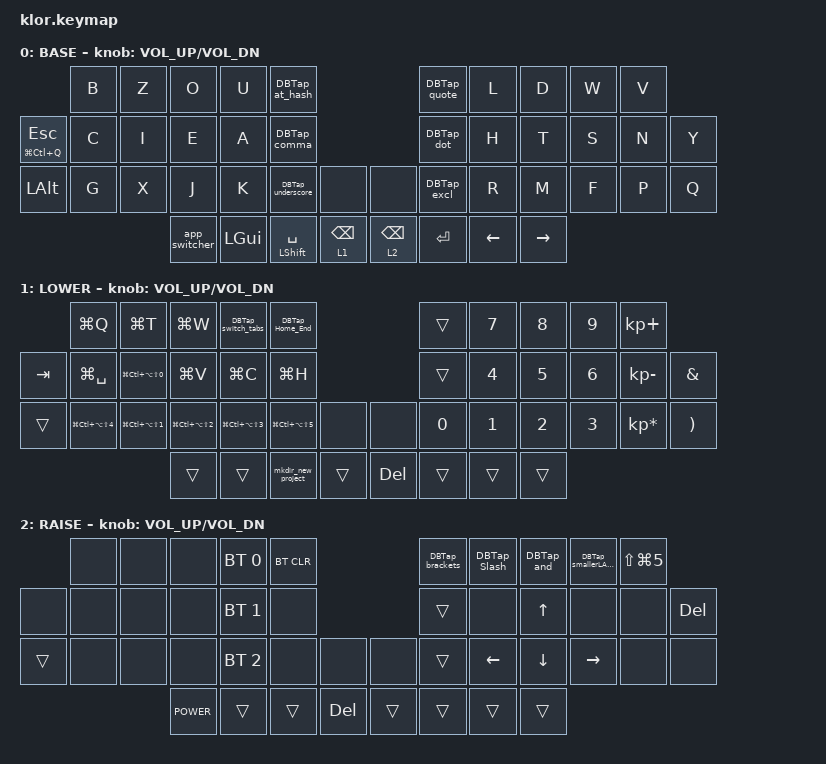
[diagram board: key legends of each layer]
//                               █         █    █            ▄▄▄▀▀▀▀▀▀▄▄▄        █▀▀▀▀▀▀▀▀▀▀█
//                               █        █     █          ▄▀            ▀▄      █          █
//                               █       █      █        ▄▀                ▀▄    █          █
//                               █      █       █        █                  █    █          █
//                               █     █        █       █                    █   █          █
//                               █    █         █       █                    █   █▄▄▄▄▄▄▄▄▄▄█
//                               █   █ █        █       █                    █   █      █
//                               █  █   █       █        █                  █    █       █
//                               █ █     █      █        ▀▄                ▄▀    █        █
//                               ██       █     █          ▀▄            ▄▀      █         █
//                               █         █    █▄▄▄▄▄▄▄▄    ▀▀▀▄▄▄▄▄▄▀▀▀        █          █
//
// ▄▄▄▄▄▄▄▄▄▄▄▄▄▄▄▄▄▄▄▄▄▄▄▄▄▄▄▄▄▄▄▄▄▄▄▄▄▄▄▄▄▄▄▄▄▄▄▄▄▄▄▄▄▄▄▄▄▄▄▄▄▄▄▄▄▄▄▄▄▄▄▄▄▄▄▄▄▄▄▄▄▄▄▄▄▄▄▄▄▄▄▄▄▄▄▄▄▄▄▄▄▄▄▄▄▄▄▄▄▄▄▄▄▄▄▄▄▄▄▄▄▄▄▄▄

#include <behaviors.dtsi>
#include <dt-bindings/zmk/bt.h>
#include <dt-bindings/zmk/keys.h>

#define BASE   0
#define LOWER  1
#define RAISE  2
#define ADJUST 3

/ {
    behaviors {
        DBTap_dot: DBTap_dot {
            compatible = "zmk,behavior-tap-dance";
            label = "DBTAP_DOT";
            #binding-cells = <0>;
            bindings = <&kp PERIOD>, <&kp GREATER_THAN>;
        };

        DBTap_comma: DBTap_comma {
            compatible = "zmk,behavior-tap-dance";
            label = "DBTAP_COMMA";
            #binding-cells = <0>;
            bindings = <&kp COMMA>, <&kp LESS_THAN>;
        };

        DBTap_underscore: DBTap_underscore {
            compatible = "zmk,behavior-tap-dance";
            label = "DBTAP_UNDERSCORE";
            #binding-cells = <0>;
            bindings = <&kp SLASH>, <&kp QUESTION>;
        };

        DBTap_at_hash: DBTap_at_hash {
            compatible = "zmk,behavior-tap-dance";
            label = "DBTAP_AT_HASH";
            #binding-cells = <0>;
            bindings = <&kp RA(L)>, <&kp NON_US_HASH>;
        };

        DBTap_quote: DBTap_quote {
            compatible = "zmk,behavior-tap-dance";
            label = "DBTAP_QUOTE";
            #binding-cells = <0>;
            bindings = <&kp LS(NON_US_HASH)>, <&kp LS(NUMBER_2)>;
        };

        lonyPress: lonyPress {
            compatible = "zmk,behavior-hold-tap";
            label = "LONYPRESS";
            bindings = <&kp>, <&kp>;

            #binding-cells = <2>;
            tapping-term-ms = <200>;
            flavor = "tap-preferred";
        };

        DBTap_excl: DBTap_excl {
            compatible = "zmk,behavior-tap-dance";
            label = "DBTAP_EXCL";
            #binding-cells = <0>;
            bindings = <&kp UNDERSCORE>, <&kp EXCL>;
        };

        DBTap_Z: DBTap_Z {
            compatible = "zmk,behavior-tap-dance";
            label = "DBTAP_Z";
            #binding-cells = <0>;
            bindings = <&kp Y>, <&kp MINUS>;
        };

        DBTap_up: DBTap_up {
            compatible = "zmk,behavior-tap-dance";
            label = "DBTAP_UP";
            #binding-cells = <0>;
            bindings = <&kp LEFT_ARROW>, <&kp UP_ARROW>;
        };

        DBTap_down: DBTap_down {
            compatible = "zmk,behavior-tap-dance";
            label = "DBTAP_DOWN";
            #binding-cells = <0>;
            bindings = <&kp RIGHT_ARROW>, <&kp DOWN_ARROW>;
        };

        DBTap_and: DBTap_and {
            compatible = "zmk,behavior-tap-dance";
            label = "DBTAP_AND";
            #binding-cells = <0>;
            bindings = <&kp LS(NUMBER_6)>, <&kp LS(N5)>;
        };

        DBTap_brackets: DBTap_brackets {
            compatible = "zmk,behavior-tap-dance";
            label = "DBTAP_BRACKETS";
            #binding-cells = <0>;
            bindings = <&kp LS(N8)>, <&kp LS(N9)>;
        };

        DBTap_Slash: DBTap_Slash {
            compatible = "zmk,behavior-tap-dance";
            label = "DBTAP_SLASH";
            #binding-cells = <0>;
            bindings = <&kp AMPERSAND>, <&kp LS(RA(NUMBER_7))>;
        };

        DBTap_smallerLARGER: DBTap_smallerLARGER {
            compatible = "zmk,behavior-tap-dance";
            label = "DBTAP_SMALLERLARGER";
            #binding-cells = <0>;
            bindings = <&kp LS(GRAVE)>, <&kp GRAVE>;
        };

        DBTap_Home_End: DBTap_Home_End {
            compatible = "zmk,behavior-tap-dance";
            label = "DBTAP_HOME_END";
            #binding-cells = <0>;
            bindings = <&kp HOME>, <&kp END>;
        };

        DBTap_switch_tabs: DBTap_switch_tabs {
            compatible = "zmk,behavior-tap-dance";
            label = "DBTAP_SWITCH_TABS";
            #binding-cells = <0>;
            bindings = <&kp LC(TAB)>, <&kp LC(LS(TAB))>;

            tapping-term-ms = <250>;
        };
    };

    combos {
        compatible = "zmk,combos";

        oe {
            bindings = <&kp SEMICOLON>;
            key-positions = <2 13>;
        };

        ae {
            bindings = <&kp SINGLE_QUOTE>;
            key-positions = <14 13>;
        };

        ue {
            bindings = <&kp LEFT_BRACKET>;
            key-positions = <3 13>;
        };
    };

    macros {
        app_switcher: app_switcher {
            compatible = "zmk,behavior-macro";
            #binding-cells = <0>;
            bindings =
                <&macro_press>,
                <&kp LEFT_GUI>,
                <&macro_tap>,
                <&kp TAB>,
                <&macro_pause_for_release>,
                <&macro_release>,
                <&kp LEFT_GUI>;

            label = "APP_SWITCHER";
            wait-ms = <30>;
            tap-ms = <30>;
        };

        mkdir_new_project: unlockthismac1 {
            compatible = "zmk,behavior-macro";
            #binding-cells = <0>;
            bindings = <&kp LS(N) &kp LS(S) &kp LS(T) &kp LS(H) &kp C &kp I &kp E &kp A &kp N &kp S &kp T &kp H &kp NUHS>;
            label = "UNLOCKTHISMAC1";
            wait-ms = <10>;
            tap-ms = <10>;
        };
    };

    keymap {
        compatible = "zmk,keymap";

        // ▄▄▄▄▄▄▄▄▄▄▄▄▄▄▄▄▄▄▄▄▄▄▄▄▄▄▄▄▄▄▄▄▄▄▄▄▄▄▄▄▄▄▄▄▄▄▄▄▄▄▄▄▄▄▄▄▄▄▄▄▄▄▄▄▄▄▄▄▄▄▄▄▄▄▄▄▄▄▄▄▄▄▄▄▄▄▄▄▄▄▄▄▄▄▄▄▄▄▄▄▄▄▄▄▄▄▄▄▄▄▄▄▄▄▄▄▄▄▄▄▄▄▄▄▄▄▄▄▄▄▄▄▄▄▄▄▄▄▄▄▄▄

        base_layer {
            // ┌───────────────────────────────────────────────────────────┐

            label = "BASE";

            // └───────────────────────────────────────────────────────────┘
            /*           ┌─────────┬─────────┬─────────┬─────────┬─────────┐                    ┌─────────┬─────────┬─────────┬─────────┬─────────┐
             │    Q    │    W    │    F    │    P    │    G    │                    │    J    │    L    │    U    │    Y    │    ;    │   
   ┌─────────┼─────────┼─────────┼─────────┼─────────┼─────────┤                    ├─────────┼─────────┼─────────┼─────────┼─────────┼─────────┐
   │   TAB   │    A    │    R    │    S    │    T    │    D    │                    │    H    │    N    │    E    │    I    │    O    │    "    │
   ├─────────┼─────────┼─────────┼─────────┼─────────┼─────────┤╭────────╮╭────────╮├─────────┼─────────┼─────────┼─────────┼─────────┼─────────┤
   │   DEL   │    Z    │    X    │    C    │    V    │    B    ││  MUTE  ││PLY/PSE ││    K    │    M    │    ,    │    .    │    /    │    \    │
   └─────────┴─────────┴─────────┼─────────┼─────────┼─────────┼╰────────╯╰────────╯┼─────────┼─────────┼─────────┼─────────┴─────────┴─────────┘
                                 │  CTRL   │  LOWER  │  SPACE  │   ALT   ││ CMD/WIN │  ENTER  │  RAISE  │  BSPCE  │  
                                 └─────────┴─────────┴─────────┴─────────┘└─────────┴─────────┴─────────┴─────────┘ */

            bindings = <
                          &kp B  &kp Z  &kp O          &kp U         &DBTap_at_hash                                          &DBTap_quote  &kp L           &kp D            &kp W  &kp V
&lonyPress LG(LC(Q)) ESC  &kp C  &kp I  &kp E          &kp A         &DBTap_comma                                            &DBTap_dot    &kp H           &kp T            &kp S  &kp N  &kp Y
&kp LALT                  &kp G  &kp X  &kp J          &kp K         &DBTap_underscore     &none            &none            &DBTap_excl   &kp R           &kp M            &kp F  &kp P  &kp Q
                                        &app_switcher  &kp LEFT_GUI  &mt LEFT_SHIFT SPACE  &lt 1 BACKSPACE  &lt 2 BACKSPACE  &kp RETURN    &kp LEFT_ARROW  &kp RIGHT_ARROW
            >;

            sensor-bindings = <&inc_dec_kp C_VOL_UP C_VOL_DN>;
        };

        // ▄▄▄▄▄▄▄▄▄▄▄▄▄▄▄▄▄▄▄▄▄▄▄▄▄▄▄▄▄▄▄▄▄▄▄▄▄▄▄▄▄▄▄▄▄▄▄▄▄▄▄▄▄▄▄▄▄▄▄▄▄▄▄▄▄▄▄▄▄▄▄▄▄▄▄▄▄▄▄▄▄▄▄▄▄▄▄▄▄▄▄▄▄▄▄▄▄▄▄▄▄▄▄▄▄▄▄▄▄▄▄▄▄▄▄▄▄▄▄▄▄▄▄▄▄▄▄▄▄▄▄▄▄▄▄▄▄▄▄▄▄▄

        lower_layer {
            // ┌───────────────────────────────────────────────────────────┐

            label = "LOWER";

            // └───────────────────────────────────────────────────────────┘
            /*           ┌─────────┬─────────┬─────────┬─────────┬─────────┐                    ┌─────────┬─────────┬─────────┬─────────┬─────────┐
             │         │         │    UP   │         │    {    │                    │    }    │    7    │    8    │    9    │    +    │
   ┌─────────┼─────────┼─────────┼─────────┼─────────┼─────────┤                    ├─────────┼─────────┼─────────┼─────────┼─────────┼─────────┐
   │         │         │   LEFT  │  DOWN   │  RIGHT  │    [    │                    │    ]    │    4    │    5    │    6    │    -    │         │
   ├─────────┼─────────┼─────────┼─────────┼─────────┼─────────┤╭────────╮╭────────╮├─────────┼─────────┼─────────┼─────────┼─────────┼─────────┤
   │         │         │   P UP  │ C LOCK  │ P DOWN  │    (    ││        ││        ││    )    │    1    │    2    │    3    │    *    │         │
   └─────────┴─────────┴─────────┼─────────┼─────────┼─────────┼╰────────╯╰────────╯┼─────────┼─────────┼─────────┼─────────┴─────────┴─────────┘
                                 │         │         │         │         ││         │         │    0    │         │  
                                 └─────────┴─────────┴─────────┴─────────┘└─────────┴─────────┴─────────┴─────────┘ */

            bindings = <
         &kp LG(Q)                     &kp LG(T)                     &kp LG(W)                     &DBTap_switch_tabs            &DBTap_Home_End                                &trans  &kp N7  &kp N8  &kp N9  &kp KP_PLUS
&kp TAB  &kp LG(SPACE)                 &kp LG(LC(LA(LS(NUMBER_0))))  &kp LG(V)                     &kp LG(C)                     &kp LG(H)                                      &trans  &kp N4  &kp N5  &kp N6  &kp KP_MINUS     &kp AMPERSAND
&trans   &kp LG(LC(LA(LS(NUMBER_4))))  &kp LG(LC(LA(LS(NUMBER_1))))  &kp LG(LC(LA(LS(NUMBER_2))))  &kp LG(LC(LA(LS(NUMBER_3))))  &kp LG(LC(LA(LS(NUMBER_5))))  &none   &none    &kp N0  &kp N1  &kp N2  &kp N3  &kp KP_MULTIPLY  &kp RIGHT_PARENTHESIS
                                                                     &trans                        &trans                        &mkdir_new_project            &trans  &kp DEL  &trans  &trans  &trans
            >;

            sensor-bindings = <&inc_dec_kp C_VOL_UP C_VOL_DN>;
        };

        // ▄▄▄▄▄▄▄▄▄▄▄▄▄▄▄▄▄▄▄▄▄▄▄▄▄▄▄▄▄▄▄▄▄▄▄▄▄▄▄▄▄▄▄▄▄▄▄▄▄▄▄▄▄▄▄▄▄▄▄▄▄▄▄▄▄▄▄▄▄▄▄▄▄▄▄▄▄▄▄▄▄▄▄▄▄▄▄▄▄▄▄▄▄▄▄▄▄▄▄▄▄▄▄▄▄▄▄▄▄▄▄▄▄▄▄▄▄▄▄▄▄▄▄▄▄

        raise_layer {
            // ┌───────────────────────────────────────────────────────────┐

            label = "RAISE";

            // └───────────────────────────────────────────────────────────┘
            /*           ┌─────────┬─────────┬─────────┬─────────┬─────────┐                    ┌─────────┬─────────┬─────────┬─────────┬─────────┐
             │         │         │         │         │         │                    │         │         │    Ü    │         │         │
   ┌─────────┼─────────┼─────────┼─────────┼─────────┼─────────┤                    ├─────────┼─────────┼─────────┼─────────┼─────────┼─────────┐
   │    Ä    │         │    ß    │         │         │         │                    │         │         │         │         │    Ö    │         │
   ├─────────┼─────────┼─────────┼─────────┼─────────┼─────────┤╭────────╮╭────────╮├─────────┼─────────┼─────────┼─────────┼─────────┼─────────┤
   │         │         │         │         │         │         ││        ││        ││         │         │         │         │         │         │
   └─────────┴─────────┴─────────┼─────────┼─────────┼─────────┼╰────────╯╰────────╯┼─────────┼─────────┼─────────┼─────────┴─────────┴─────────┘
                                 │ ADJUST  │         │         │         ││         │         │         │         │  
                                 └─────────┴─────────┴─────────┴─────────┘└─────────┴─────────┴─────────┴─────────┘ */

            bindings = <
        &none  &none  &none        &bt BT_SEL 0  &bt BT_CLR                   &DBTap_brackets  &DBTap_Slash    &DBTap_and      &DBTap_smallerLARGER  &kp LS(LG(NUMBER_5))
&none   &none  &none  &none        &bt BT_SEL 1  &none                        &trans           &none           &kp UP_ARROW    &none                 &none                 &kp DEL
&trans  &none  &none  &none        &bt BT_SEL 2  &none       &none    &none   &trans           &kp LEFT_ARROW  &kp DOWN_ARROW  &kp RIGHT_ARROW       &none                 &none
                      &kp K_POWER  &trans        &trans      &kp DEL  &trans  &trans           &trans          &trans
            >;

            sensor-bindings = <&inc_dec_kp C_VOL_UP C_VOL_DN>;
        };

        // ▄▄▄▄▄▄▄▄▄▄▄▄▄▄▄▄▄▄▄▄▄▄▄▄▄▄▄▄▄▄▄▄▄▄▄▄▄▄▄▄▄▄▄▄▄▄▄▄▄▄▄▄▄▄▄▄▄▄▄▄▄▄▄▄▄▄▄▄▄▄▄▄▄▄▄▄▄▄▄▄▄▄▄▄▄▄▄▄▄▄▄▄▄▄▄▄▄▄▄▄▄▄▄▄▄▄▄▄▄▄▄▄▄▄▄▄▄▄▄▄▄▄▄▄▄
    };
};
